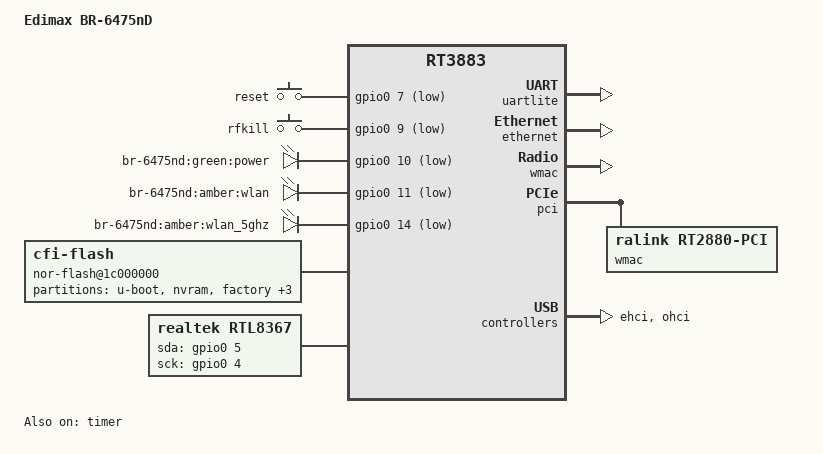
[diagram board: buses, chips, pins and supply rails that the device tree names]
/dts-v1/;

#include "rt3883.dtsi"

/ {
	compatible = "BR-6475ND", "ralink,rt3883-soc";
	model = "Edimax BR-6475nD";

	gpio-keys-polled {
		compatible = "gpio-keys-polled";
		#address-cells = <1>;
		#size-cells = <0>;
		poll-interval = <100>;

		reset {
			label = "reset";
			gpios = <&gpio0 7 1>;
			linux,code = <0x198>;
		};

		rfkill {
			label = "rfkill";
			gpios = <&gpio0 9 1>;
			linux,input-type = <5>;
			linux,code = <0xf7>;
		};
	};

	gpio-leds {
		compatible = "gpio-leds";

		power {
			label = "br-6475nd:green:power";
			gpios = <&gpio0 10 1>;
		};

		wlan {
			label = "br-6475nd:amber:wlan";
			gpios = <&gpio0 11 1>;
		};

		wlan_5ghz {
			label = "br-6475nd:amber:wlan_5ghz";
			gpios = <&gpio0 14 1>;
		};
	};

	nor-flash@1c000000 {
		compatible = "cfi-flash";
		reg = <0x1c000000 0x800000>;
		bank-width = <2>;
		#address-cells = <1>;
		#size-cells = <1>;

		partition@0 {
			reg = <0x00000000 0x00030000>;
			label = "u-boot";
			read-only;
		};

		partition@30000 {
			reg = <0x00030000 0x00010000>;
			label = "nvram";
			read-only;
		};

		factory: partition@40000 {
			reg = <0x00040000 0x00010000>;
			label = "factory";
			read-only;
		};

		devdata: partition@50000 {
			reg = <0x00050000 0x00020000>;
			label = "devdata";
			read-only;
		};

		partition@70000 {
			reg = <0x00070000 0x00790000>;
			label = "firmware";
		};

		partition@170000 {
			reg = <0x00270000 0x00590000>;
			label = "rootfs";
		};
	};

	rtl8367 {
		compatible = "realtek,rtl8367";
		gpio-sda = <&gpio0 5 0>;
		gpio-sck = <&gpio0 4 0>;
		realtek,extif0 = <1 0 1 1 1 1 1 1 2>;
	};

	/* Unclear if this is the correct gpio setup; the USB ports are
	   unpopulated on a stock BR-6475nD, even though the hardware exists
	   and the headers are there. */
	/*
	gpio_export {
		compatible = "gpio-export";
		#size-cells = <0>;

		usb {
			gpio-export,name="usb";
			gpio-export,output=<0>;
			gpios = <&gpio0 19 0>;
		};
	};
	*/
};

&pinctrl {
	state_default: pinctrl0 {
		gpio {
			ralink,group = "spi", "jtag", "uartf";
			ralink,function = "gpio";
		};
	};
};

&timer {
	status = "okay";
};

&gpio1 {
	status = "okay";
};

&uartlite {
	status = "okay";
};

&ethernet {
	status = "okay";
	mtd-mac-address = <&devdata 0x0d>;

	port@0 {
		mediatek,fixed-link = <1000 1 1 1>;
	};
};

&wmac {
	status = "okay";
	ralink,mtd-eeprom = <&factory 0>;
};

&pci {
	status = "okay";
	pinctrl-names = "default";
	pinctrl-0 = <&pci_pins>;

	pci_pins: pci {
		pci {
			ralink,group = "pci";
			ralink,function = "pci-fnc";
		};
	};

	host-bridge {
		pci-bridge@1 {
			status = "okay";

			wmac@0,0 {
				ralink,5ghz = <0>;
				compatible = "ralink,rt2880-pci", "pciclass060400", "pciclass0604";
				reg = < 0x10000 0 0 0 0 >;
				ralink,eeprom = "rt2x00pci_1_0.eeprom";
			};
		};
	};
};

&ehci {
	status = "okay";
};

&ohci {
	status = "okay";
};
